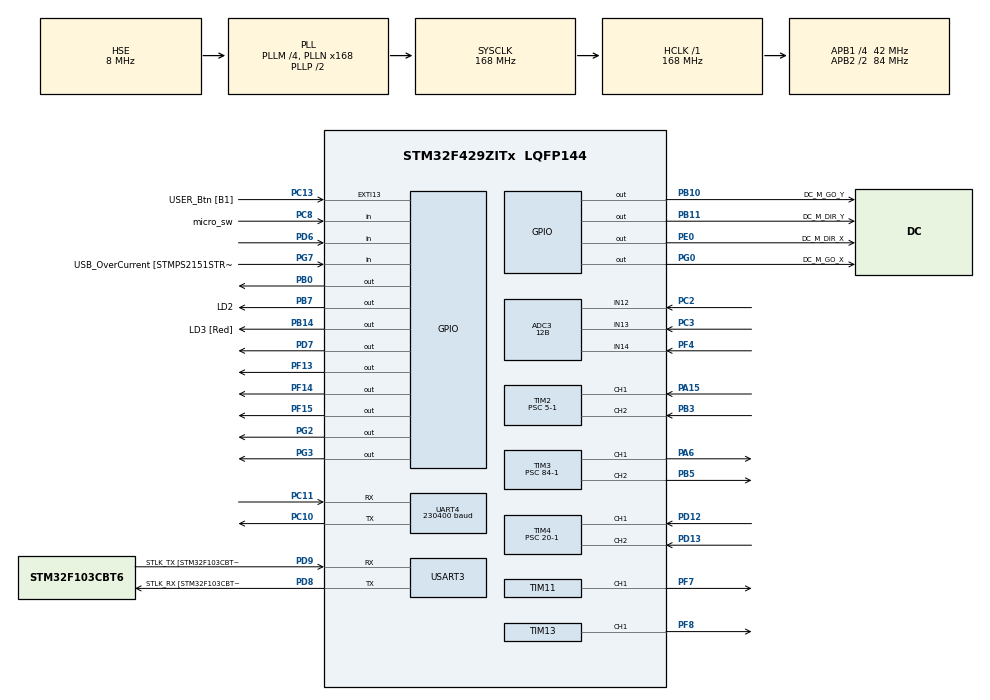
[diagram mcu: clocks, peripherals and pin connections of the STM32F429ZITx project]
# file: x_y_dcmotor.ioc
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ADC3.Channel-3\#ChannelRegularConversion=ADC_CHANNEL_13
ADC3.Channel-4\#ChannelRegularConversion=ADC_CHANNEL_12
ADC3.Channel-5\#ChannelRegularConversion=ADC_CHANNEL_14
ADC3.ContinuousConvMode=DISABLE
ADC3.DMAContinuousRequests=ENABLE
ADC3.DiscontinuousConvMode=ENABLE
ADC3.ExternalTrigConv=ADC_EXTERNALTRIGCONV_T8_TRGO
ADC3.NbrOfConversion=3
ADC3.NbrOfConversionFlag=1
ADC3.NbrOfDiscConversion=3
ADC3.Rank-3\#ChannelRegularConversion=1
ADC3.Rank-4\#ChannelRegularConversion=2
ADC3.Rank-5\#ChannelRegularConversion=3
ADC3.Resolution=ADC_RESOLUTION_12B
ADC3.SamplingTime-3\#ChannelRegularConversion=ADC_SAMPLETIME_84CYCLES
ADC3.SamplingTime-4\#ChannelRegularConversion=ADC_SAMPLETIME_480CYCLES
ADC3.SamplingTime-5\#ChannelRegularConversion=ADC_SAMPLETIME_480CYCLES
ADC3.ScanConvMode=ENABLE
Dma.ADC3.0.Direction=DMA_PERIPH_TO_MEMORY
Dma.ADC3.0.FIFOMode=DMA_FIFOMODE_DISABLE
Dma.ADC3.0.Instance=DMA2_Stream1
Dma.ADC3.0.MemDataAlignment=DMA_MDATAALIGN_HALFWORD
Dma.ADC3.0.MemInc=DMA_MINC_ENABLE
Dma.ADC3.0.Mode=DMA_CIRCULAR
Dma.ADC3.0.PeriphDataAlignment=DMA_PDATAALIGN_HALFWORD
Dma.ADC3.0.PeriphInc=DMA_PINC_DISABLE
Dma.ADC3.0.Priority=DMA_PRIORITY_LOW
Dma.Request0=ADC3
Mcu.Family=STM32F4
Mcu.Name=STM32F429ZITx
Mcu.Package=LQFP144
NVIC.ADC_IRQn=true\:0\:0\:true\:false\:true\:true\:true\:true
NVIC.DMA2_Stream1_IRQn=true\:0\:0\:false\:false\:true\:false\:true\:true
NVIC.PriorityGroup=NVIC_PRIORITYGROUP_4
NVIC.TIM1_TRG_COM_TIM11_IRQn=true\:0\:0\:true\:false\:true\:true\:true\:true
NVIC.TIM6_DAC_IRQn=true\:0\:0\:true\:false\:true\:true\:true\:true
NVIC.TIM8_BRK_TIM12_IRQn=true\:0\:0\:true\:false\:true\:true\:true\:true
NVIC.TIM8_TRG_COM_TIM14_IRQn=true\:0\:0\:true\:false\:true\:true\:true\:true
NVIC.TIM8_UP_TIM13_IRQn=true\:0\:0\:true\:false\:true\:true\:true\:true
NVIC.UART4_IRQn=true\:14\:0\:true\:false\:true\:true\:true\:true
NVIC.USART3_IRQn=true\:14\:0\:true\:false\:true\:true\:true\:true
PA11.GPIO_Label=USB_DM
PA11.Signal=USB_OTG_FS_DM
PA12.GPIO_Label=USB_DP
PA12.Signal=USB_OTG_FS_DP
PA13.GPIO_Label=TMS
PA13.Mode=Serial_Wire
PA13.Signal=SYS_JTMS-SWDIO
PA14.GPIO_Label=TCK
PA14.Mode=Serial_Wire
PA14.Signal=SYS_JTCK-SWCLK
PA15.GPIO_Speed=GPIO_SPEED_FREQ_LOW
PA15.Signal=S_TIM2_CH1_ETR
PA6.GPIO_Speed=GPIO_SPEED_FREQ_LOW
PA6.Signal=S_TIM3_CH1
PA8.GPIO_Label=USB_SOF [TP1]
PA8.Signal=USB_OTG_FS_SOF
PA9.GPIO_Label=USB_VBUS
PA9.Signal=USB_OTG_FS_VBUS
PB0.Signal=GPIO_Output
PB10.GPIO_Label=DC_M_GO_Y
PB10.GPIO_Speed=GPIO_SPEED_FREQ_LOW
PB10.Signal=GPIO_Output
PB11.GPIO_Label=DC_M_DIR_Y
PB11.GPIO_Speed=GPIO_SPEED_FREQ_LOW
PB11.Signal=GPIO_Output
PB14.GPIO_Label=LD3 [Red]
PB14.Signal=GPIO_Output
PB3.GPIO_Speed=GPIO_SPEED_FREQ_LOW
PB3.Signal=S_TIM2_CH2
PB5.Signal=S_TIM3_CH2
PB7.GPIO_Label=LD2
PB7.Signal=GPIO_Output
PC10.Mode=Asynchronous
PC10.Signal=UART4_TX
PC11.Mode=Asynchronous
PC11.Signal=UART4_RX
PC13.GPIO_Label=USER_Btn [B1]
PC13.Signal=GPXTI13
PC14/OSC32_IN.Mode=LSE-External-Oscillator
PC14/OSC32_IN.Signal=RCC_OSC32_IN
PC15/OSC32_OUT.Mode=LSE-External-Oscillator
PC15/OSC32_OUT.Signal=RCC_OSC32_OUT
PC2.Signal=ADCx_IN12
PC3.Signal=ADCx_IN13
PC8.GPIO_Label=micro_sw
PC8.Signal=GPIO_Input
PD12.GPIO_Speed=GPIO_SPEED_FREQ_LOW
PD12.Signal=S_TIM4_CH1
PD13.GPIO_Speed=GPIO_SPEED_FREQ_LOW
PD13.Signal=S_TIM4_CH2
PD6.Signal=GPIO_Input
PD7.Signal=GPIO_Output
PD8.GPIO_Label=STLK_RX [STM32F103CBT6_PA3]
PD8.Mode=Asynchronous
PD8.Signal=USART3_TX
PD9.GPIO_Label=STLK_TX [STM32F103CBT6_PA2]
PD9.Mode=Asynchronous
PD9.Signal=USART3_RX
PE0.GPIO_Label=DC_M_DIR_X
PE0.GPIO_Speed=GPIO_SPEED_FREQ_LOW
PE0.Signal=GPIO_Output
PF13.Signal=GPIO_Output
PF14.Signal=GPIO_Output
PF15.Signal=GPIO_Output
PF4.Mode=IN14
PF4.Signal=ADC3_IN14
PF7.GPIO_Speed=GPIO_SPEED_FREQ_LOW
PF7.Signal=S_TIM11_CH1
PF8.GPIO_Speed=GPIO_SPEED_FREQ_LOW
PF8.Signal=S_TIM13_CH1
PG0.GPIO_Label=DC_M_GO_X
PG0.GPIO_Speed=GPIO_SPEED_FREQ_LOW
PG0.Signal=GPIO_Output
PG2.Signal=GPIO_Output
PG3.Signal=GPIO_Output
PG7.GPIO_Label=USB_OverCurrent [STMPS2151STR_FAULT]
PG7.Signal=GPIO_Input
PH0/OSC_IN.GPIO_Label=MCO [STM32F103CBT6_PA8]
PH0/OSC_IN.Mode=HSE-External-Clock-Source
PH0/OSC_IN.Signal=RCC_OSC_IN
PH1/OSC_OUT.Mode=HSE-External-Clock-Source
PH1/OSC_OUT.Signal=RCC_OSC_OUT
ProjectManager.HeapSize=0x200
ProjectManager.StackSize=0x400
ProjectManager.TargetToolchain=STM32CubeIDE
RCC.48MHZClocksFreq_Value=48000000
RCC.AHBFreq_Value=168000000
RCC.APB1CLKDivider=RCC_HCLK_DIV4
RCC.APB1Freq_Value=42000000
RCC.APB1TimFreq_Value=84000000
RCC.APB2CLKDivider=RCC_HCLK_DIV2
RCC.APB2Freq_Value=84000000
RCC.APB2TimCLKDivider=2
RCC.APB2TimFreq_Value=168000000
RCC.CortexFreq_Value=168000000
RCC.HCLKFreq_Value=168000000
RCC.HSE_VALUE=8000000
RCC.HSI_VALUE=16000000
RCC.PLLM=4
RCC.PLLMUL=RCC_PLL_MUL9
RCC.PLLN=168
RCC.PLLQ=7
RCC.PLLSourceVirtual=RCC_PLLSOURCE_HSE
RCC.PRESCALERUSB=RCC_USBCLKSOURCE_PLL_DIV1_5
RCC.SYSCLKFreq_VALUE=168000000
RCC.SYSCLKSource=RCC_SYSCLKSOURCE_PLLCLK
RCC.SYSCLKSourceVirtual=RCC_SYSCLKSOURCE_PLLCLK
RCC.USBFreq_Value=48000000
RCC.VCOOutputFreq_Value=336000000
SH.ADCx_IN12.0=ADC3_IN12,IN12
SH.ADCx_IN13.0=ADC3_IN13,IN13
SH.S_TIM11_CH1.0=TIM11_CH1,Output Compare1 CH1
SH.S_TIM13_CH1.0=TIM13_CH1,Output Compare1 CH1
SH.S_TIM2_CH1_ETR.0=TIM2_CH1,Encoder_Interface
SH.S_TIM2_CH2.0=TIM2_CH2,Encoder_Interface
SH.S_TIM3_CH1.0=TIM3_CH1,PWM Generation1 CH1
SH.S_TIM3_CH2.0=TIM3_CH2,PWM Generation2 CH2
SH.S_TIM4_CH1.0=TIM4_CH1,Encoder_Interface
SH.S_TIM4_CH2.0=TIM4_CH2,Encoder_Interface
TIM11.AutoReloadPreload=TIM_AUTORELOAD_PRELOAD_ENABLE
TIM11.Channel=TIM_CHANNEL_1
TIM11.OCMode_1=TIM_OCMODE_TOGGLE
TIM11.Period=800-1
TIM11.Prescaler=168-1
TIM11.Pulse=50
TIM12.Prescaler=42-1
TIM13.AutoReloadPreload=TIM_AUTORELOAD_PRELOAD_ENABLE
TIM13.Channel=TIM_CHANNEL_1
TIM13.OCMode_1=TIM_OCMODE_TOGGLE
TIM13.Period=800-1
TIM13.Prescaler=84-1
TIM13.Pulse=50
TIM14.Period=1000-1
TIM14.Prescaler=840-1
TIM2.EncoderMode=TIM_ENCODERMODE_TI12
TIM2.IC1Prescaler=TIM_ICPSC_DIV1
TIM2.IC2Prescaler=TIM_ICPSC_DIV1
TIM2.Period=0xFFFFFFFF-1
TIM2.Prescaler=5-1
TIM3.Channel-PWM\ Generation1\ CH1=TIM_CHANNEL_1
TIM3.Channel-PWM\ Generation2\ CH2=TIM_CHANNEL_2
TIM3.Period=10000-1
TIM3.Prescaler=84-1
TIM3.Pulse-PWM\ Generation1\ CH1=1000
TIM3.Pulse-PWM\ Generation2\ CH2=1000
TIM4.EncoderMode=TIM_ENCODERMODE_TI12
TIM4.Period=0xFFFF-1
TIM4.Prescaler=20-1
TIM6.Period=1000-1
TIM6.Prescaler=84-1
TIM8.Channel-Output\ Compare4\ No\ Output=TIM_CHANNEL_4
TIM8.Period=30-1
TIM8.Prescaler=84-1
TIM8.Pulse-Output\ Compare4\ No\ Output=2000
TIM8.TIM_MasterOutputTrigger=TIM_TRGO_UPDATE
UART4.BaudRate=230400
UART4.Parity=PARITY_EVEN
UART4.VirtualMode=Asynchronous
USART3.VirtualMode=VM_ASYNC
VP_TIM11_VS_ClockSourceINT.Mode=Enable_Timer
VP_TIM12_VS_ClockSourceINT.Mode=Internal
VP_TIM13_VS_ClockSourceINT.Mode=Enable_Timer
VP_TIM14_VS_ClockSourceINT.Mode=Enable_Timer
VP_TIM3_VS_ClockSourceINT.Mode=Internal
VP_TIM6_VS_ClockSourceINT.Mode=Enable_Timer
VP_TIM8_VS_ClockSourceINT.Mode=Internal
VP_TIM8_VS_no_output4.Mode=Output Compare4 No Output
board=NUCLEO-F429ZI

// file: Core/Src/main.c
/* USER CODE BEGIN Header */
/**
 ******************************************************************************
 * @file           : main.c
 * @brief          : Main program body
 ******************************************************************************
 * @attention
 *
 * Copyright (c) 2024 STMicroelectronics.
 * All rights reserved.
 *
 * This software is licensed under terms that can be found in the LICENSE file
 * in the root directory of this software component.
 * If no LICENSE file comes with this software, it is provided AS-IS.
 *
 ******************************************************************************
 */
/* USER CODE END Header */
#include "main.h"

/* USER CODE BEGIN Includes */
#include "sensor.h"
#include "com.h"
#include "pid.h"
#include "step.h"
#include <stdio.h>

//ㅇㅇ

#define PHY_POWERDOWN ((uint16_t)0x0800U) /*!< 절전 모드 선택 */

extern float battery_V;

uint8_t buffer[256];

uint8_t key_value;

uint8_t data;

uint32_t encoder_count_x = 1000000;
uint32_t encoder_count_y = 10000;

extern float RPM_X;
extern float RPS_X;
extern float Omega_X;

uint16_t RPM_uint16;
uint16_t battery_uint16;

uint8_t ENC[4];

uint16_t ADC3_value[3];

extern int tim14_flag;
extern int tim6_flag;
extern int tim13_flag;
extern int tim11_flag;

extern int tim12_flag;

/* USER CODE END Includes */

ADC_HandleTypeDef hadc3;
DMA_HandleTypeDef hdma_adc3;

TIM_HandleTypeDef htim2;
TIM_HandleTypeDef htim3;
TIM_HandleTypeDef htim4;
TIM_HandleTypeDef htim6;
TIM_HandleTypeDef htim8;
TIM_HandleTypeDef htim11;
TIM_HandleTypeDef htim12;
TIM_HandleTypeDef htim13;
TIM_HandleTypeDef htim14;

UART_HandleTypeDef huart4;
UART_HandleTypeDef huart3;

void SystemClock_Config(void);
static void MX_GPIO_Init(void);
static void MX_DMA_Init(void);
static void MX_USART3_UART_Init(void);
static void MX_TIM3_Init(void);
static void MX_TIM14_Init(void);
static void MX_UART4_Init(void);
static void MX_TIM2_Init(void);
static void MX_TIM8_Init(void);
static void MX_TIM6_Init(void);
static void MX_TIM13_Init(void);
static void MX_ADC3_Init(void);
static void MX_TIM12_Init(void);
static void MX_TIM11_Init(void);
static void MX_TIM4_Init(void);

/* USER CODE BEGIN 0 */
extern uint16_t shaft_step;
extern uint16_t shaft_pulse_cycle;

extern uint16_t ball_screw_step;
extern uint16_t ball_screw_pulse_cycle;

extern uint16_t step_start;

int qwedasd;

int sw_flag = 0;
/* USER CODE END 0 */

int main(void)
{

  /* MCU Configuration--------------------------------------------------------*/

  /* Reset of all peripherals, Initializes the Flash interface and the Systick. */
  HAL_Init();

  /* Configure the system clock */
  SystemClock_Config();

  /* Initialize all configured peripherals */
  MX_GPIO_Init();
  MX_DMA_Init();
  MX_USART3_UART_Init();
  MX_TIM3_Init();
  MX_TIM14_Init();
  MX_UART4_Init();
  MX_TIM2_Init();
  MX_TIM8_Init();
  MX_TIM6_Init();
  MX_TIM13_Init();
  MX_ADC3_Init();
  MX_TIM12_Init();
  MX_TIM11_Init();
  MX_TIM4_Init();
  /* USER CODE BEGIN 2 */

	HAL_UART_Receive_IT(&huart3, &key_value, 1);
	HAL_UART_Receive_IT(&huart4, &data, 1);

	HAL_ADC_Start_DMA(&hadc3, (uint32_t*) ADC3_value, 3);

	HAL_TIM_Base_Start_IT(&htim6);
	//HAL_TIM_Base_Start_IT(&htim7);

	HAL_TIM_Encoder_Start(&htim2, TIM_CHANNEL_ALL);

	HAL_TIM_Encoder_Start(&htim4, TIM_CHANNEL_ALL);

	HAL_TIM_Base_Start_IT(&htim12);
//	HAL_TIM_OC_Start_IT(&htim13,TIM_CHANNEL_1);

	HAL_TIM_PWM_Start(&htim3, TIM_CHANNEL_1);
	HAL_TIM_PWM_Start(&htim3, TIM_CHANNEL_2);
	setvbuf(stdin, NULL, _IONBF, 0);

	//PHY_POWERDOWN=PHY_POWERDOWN;

  /* USER CODE END 2 */

  /* Infinite loop */
	while (1) {

    /* USER CODE BEGIN 3 */

		encoder_count_x = TIM2->CNT;  //32bit timer
		encoder_count_y = TIM4->CNT;  //16bit timer

		if (HAL_GPIO_ReadPin(GPIOC, GPIO_PIN_8) == 0)  //sw 눌리면 =0
		{

				HAL_GPIO_WritePin(GPIOB, GPIO_PIN_14, 1);

	}
		else
					{

						HAL_GPIO_WritePin(GPIOB, GPIO_PIN_14, 0);

					}

/*
		if (HAL_GPIO_ReadPin(GPIOC, GPIO_PIN_8) == 0)  //sw 눌리면 =0
		{
			if(sw_flag==1)
				sw_flag=0;
			else
				sw_flag=1;
		}

if(sw_flag==1)
	HAL_GPIO_WritePin(GPIOB, GPIO_PIN_14, 1);
else
	HAL_GPIO_WritePin(GPIOB, GPIO_PIN_14, 0);

	*/
		//바퀴 pid >> tim6 인터럽트 핸들러 내부
		//z축 볼스크류 스텝모터  >> tim11 인터럽트 핸들러 내부
		//축 스텝모터  >> tim13 인터럽트 핸들러 내부
		/*

		 if (tim11_flag == 1) {
		 tim11_flag = 0;
		 }

		 if (tim13_flag == 1 && step_enable == 1) { //축 스텝모터

		 if (tim14_flag >= 120) { //1.2초후 최고속도
		 shaft_pulse_cycle = 9000;
		 }

		 }
		 */
		if (tim6_flag == 1) {  //0.01s
			distance_sensor();  //거리 센서

			tim6_flag = 0;
		}

#define test 1

		if (tim14_flag >= 10) //2초: 200
				{
#if test ==1
			GPIOB->ODR ^= 1 << 7;
			RPM_uint16 = RPM_X * 10;
			battery_uint16 = battery_V * 100;

			SerialSendChar_WIFI('?');

			//테스트

			if (ADC3_value[0] >= 1000 && ADC3_value[0] <= 4095) {

				sprintf((char*) buffer, "%d\n\r", ADC3_value[0]);
				HAL_UART_Transmit(&huart3, buffer, strlen((char*) buffer), 100);
				sprintf((char*) buffer, "%d\n\r", ADC3_value[0]);
				HAL_UART_Transmit(&huart3, buffer, strlen((char*) buffer), 100);
				sprintf((char*) buffer, "%d\n\r", ADC3_value[0]);
				HAL_UART_Transmit(&huart3, buffer, strlen((char*) buffer), 100);

				//배터리, 속도 전송
				sprintf((char*) buffer, "%d", ADC3_value[0]);
				HAL_UART_Transmit(&huart4, buffer, strlen((char*) buffer), 100);
				sprintf((char*) buffer, "%d", ADC3_value[0]);
				HAL_UART_Transmit(&huart4, buffer, strlen((char*) buffer), 100);
				sprintf((char*) buffer, "%d", ADC3_value[0]);
				HAL_UART_Transmit(&huart4, buffer, strlen((char*) buffer), 100);
			}

#elif test == 2
		 GPIOB->ODR ^= 1 << 7;
		 RPM_uint16 = RPM_X * 10;
		 battery_uint16 = battery_V * 100;

		 SerialSendChar_WIFI('?');
		 sprintf((char*) buffer, "%d", battery_uint16);
		 HAL_UART_Transmit(&huart4, buffer, strlen((char*) buffer), 100);
		 sprintf((char*) buffer, "%d", RPM_uint16);
		 HAL_UART_Transmit(&huart4, buffer, strlen((char*) buffer), 100);
		 sprintf((char*) buffer, "%d", battery_uint16);
		 HAL_UART_Transmit(&huart4, buffer, strlen((char*) buffer), 100);
		 #endif

			tim14_flag = 0;
		}

		/*	if (tim6_flag == 1) {
		 if (position_start == 1) {
		 position_pid();

		 tim6_flag = 0;
		 }
		 }
		 */

//	  HAL_Delay(1);
	}
  /* USER CODE END 3 */
}

void SystemClock_Config(void)
{
  RCC_OscInitTypeDef RCC_OscInitStruct = {0};
  RCC_ClkInitTypeDef RCC_ClkInitStruct = {0};

  /** Configure the main internal regulator output voltage
  */
  __HAL_RCC_PWR_CLK_ENABLE();
  __HAL_PWR_VOLTAGESCALING_CONFIG(PWR_REGULATOR_VOLTAGE_SCALE1);

  /** Initializes the RCC Oscillators according to the specified parameters
  * in the RCC_OscInitTypeDef structure.
  */
  RCC_OscInitStruct.OscillatorType = RCC_OSCILLATORTYPE_HSE;
  RCC_OscInitStruct.HSEState = RCC_HSE_BYPASS;
  RCC_OscInitStruct.PLL.PLLState = RCC_PLL_ON;
  RCC_OscInitStruct.PLL.PLLSource = RCC_PLLSOURCE_HSE;
  RCC_OscInitStruct.PLL.PLLM = 4;
  RCC_OscInitStruct.PLL.PLLN = 168;
  RCC_OscInitStruct.PLL.PLLP = RCC_PLLP_DIV2;
  RCC_OscInitStruct.PLL.PLLQ = 7;
  if (HAL_RCC_OscConfig(&RCC_OscInitStruct) != HAL_OK)
  {
    Error_Handler();
  }

  /** Initializes the CPU, AHB and APB buses clocks
  */
  RCC_ClkInitStruct.ClockType = RCC_CLOCKTYPE_HCLK|RCC_CLOCKTYPE_SYSCLK
                              |RCC_CLOCKTYPE_PCLK1|RCC_CLOCKTYPE_PCLK2;
  RCC_ClkInitStruct.SYSCLKSource = RCC_SYSCLKSOURCE_PLLCLK;
  RCC_ClkInitStruct.AHBCLKDivider = RCC_SYSCLK_DIV1;
  RCC_ClkInitStruct.APB1CLKDivider = RCC_HCLK_DIV4;
  RCC_ClkInitStruct.APB2CLKDivider = RCC_HCLK_DIV2;

  if (HAL_RCC_ClockConfig(&RCC_ClkInitStruct, FLASH_LATENCY_5) != HAL_OK)
  {
    Error_Handler();
  }
}

static void MX_ADC3_Init(void)
{

  ADC_ChannelConfTypeDef sConfig = {0};

  /** Configure the global features of the ADC (Clock, Resolution, Data Alignment and number of conversion)
  */
  hadc3.Instance = ADC3;
  hadc3.Init.ClockPrescaler = ADC_CLOCK_SYNC_PCLK_DIV4;
  hadc3.Init.Resolution = ADC_RESOLUTION_12B;
  hadc3.Init.ScanConvMode = ENABLE;
  hadc3.Init.ContinuousConvMode = DISABLE;
  hadc3.Init.DiscontinuousConvMode = ENABLE;
  hadc3.Init.NbrOfDiscConversion = 3;
  hadc3.Init.ExternalTrigConvEdge = ADC_EXTERNALTRIGCONVEDGE_RISING;
  hadc3.Init.ExternalTrigConv = ADC_EXTERNALTRIGCONV_T8_TRGO;
  hadc3.Init.DataAlign = ADC_DATAALIGN_RIGHT;
  hadc3.Init.NbrOfConversion = 3;
  hadc3.Init.DMAContinuousRequests = ENABLE;
  hadc3.Init.EOCSelection = ADC_EOC_SINGLE_CONV;
  if (HAL_ADC_Init(&hadc3) != HAL_OK)
  {
    Error_Handler();
  }

  /** Configure for the selected ADC regular channel its corresponding rank in the sequencer and its sample time.
  */
  sConfig.Channel = ADC_CHANNEL_13;
  sConfig.Rank = 1;
  sConfig.SamplingTime = ADC_SAMPLETIME_84CYCLES;
  if (HAL_ADC_ConfigChannel(&hadc3, &sConfig) != HAL_OK)
  {
    Error_Handler();
  }

  /** Configure for the selected ADC regular channel its corresponding rank in the sequencer and its sample time.
  */
  sConfig.Channel = ADC_CHANNEL_12;
  sConfig.Rank = 2;
  sConfig.SamplingTime = ADC_SAMPLETIME_480CYCLES;
  if (HAL_ADC_ConfigChannel(&hadc3, &sConfig) != HAL_OK)
  {
    Error_Handler();
  }

  /** Configure for the selected ADC regular channel its corresponding rank in the sequencer and its sample time.
  */
  sConfig.Channel = ADC_CHANNEL_14;
  sConfig.Rank = 3;
  if (HAL_ADC_ConfigChannel(&hadc3, &sConfig) != HAL_OK)
  {
    Error_Handler();
  }

}

static void MX_TIM2_Init(void)
{

  TIM_Encoder_InitTypeDef sConfig = {0};
  TIM_MasterConfigTypeDef sMasterConfig = {0};

  htim2.Instance = TIM2;
  htim2.Init.Prescaler = 5-1;
  htim2.Init.CounterMode = TIM_COUNTERMODE_UP;
  htim2.Init.Period = 0xFFFFFFFF-1;
  htim2.Init.ClockDivision = TIM_CLOCKDIVISION_DIV1;
  htim2.Init.AutoReloadPreload = TIM_AUTORELOAD_PRELOAD_DISABLE;
  sConfig.EncoderMode = TIM_ENCODERMODE_TI12;
  sConfig.IC1Polarity = TIM_ICPOLARITY_RISING;
  sConfig.IC1Selection = TIM_ICSELECTION_DIRECTTI;
  sConfig.IC1Prescaler = TIM_ICPSC_DIV1;
  sConfig.IC1Filter = 0;
  sConfig.IC2Polarity = TIM_ICPOLARITY_RISING;
  sConfig.IC2Selection = TIM_ICSELECTION_DIRECTTI;
  sConfig.IC2Prescaler = TIM_ICPSC_DIV1;
  sConfig.IC2Filter = 0;
  if (HAL_TIM_Encoder_Init(&htim2, &sConfig) != HAL_OK)
  {
    Error_Handler();
  }
  sMasterConfig.MasterOutputTrigger = TIM_TRGO_RESET;
  sMasterConfig.MasterSlaveMode = TIM_MASTERSLAVEMODE_DISABLE;
  if (HAL_TIMEx_MasterConfigSynchronization(&htim2, &sMasterConfig) != HAL_OK)
  {
    Error_Handler();
  }

}

static void MX_TIM3_Init(void)
{

  TIM_ClockConfigTypeDef sClockSourceConfig = {0};
  TIM_MasterConfigTypeDef sMasterConfig = {0};
  TIM_OC_InitTypeDef sConfigOC = {0};

  htim3.Instance = TIM3;
  htim3.Init.Prescaler = 84-1;
  htim3.Init.CounterMode = TIM_COUNTERMODE_UP;
  htim3.Init.Period = 10000-1;
  htim3.Init.ClockDivision = TIM_CLOCKDIVISION_DIV1;
  htim3.Init.AutoReloadPreload = TIM_AUTORELOAD_PRELOAD_DISABLE;
  if (HAL_TIM_Base_Init(&htim3) != HAL_OK)
  {
    Error_Handler();
  }
  sClockSourceConfig.ClockSource = TIM_CLOCKSOURCE_INTERNAL;
  if (HAL_TIM_ConfigClockSource(&htim3, &sClockSourceConfig) != HAL_OK)
  {
    Error_Handler();
  }
  if (HAL_TIM_PWM_Init(&htim3) != HAL_OK)
  {
    Error_Handler();
  }
  sMasterConfig.MasterOutputTrigger = TIM_TRGO_RESET;
  sMasterConfig.MasterSlaveMode = TIM_MASTERSLAVEMODE_DISABLE;
  if (HAL_TIMEx_MasterConfigSynchronization(&htim3, &sMasterConfig) != HAL_OK)
  {
    Error_Handler();
  }
  sConfigOC.OCMode = TIM_OCMODE_PWM1;
  sConfigOC.Pulse = 1000;
  sConfigOC.OCPolarity = TIM_OCPOLARITY_HIGH;
  sConfigOC.OCFastMode = TIM_OCFAST_DISABLE;
  if (HAL_TIM_PWM_ConfigChannel(&htim3, &sConfigOC, TIM_CHANNEL_1) != HAL_OK)
  {
    Error_Handler();
  }
  if (HAL_TIM_PWM_ConfigChannel(&htim3, &sConfigOC, TIM_CHANNEL_2) != HAL_OK)
  {
    Error_Handler();
  }
  HAL_TIM_MspPostInit(&htim3);

}

static void MX_TIM4_Init(void)
{

  TIM_Encoder_InitTypeDef sConfig = {0};
  TIM_MasterConfigTypeDef sMasterConfig = {0};

  htim4.Instance = TIM4;
  htim4.Init.Prescaler = 20-1;
  htim4.Init.CounterMode = TIM_COUNTERMODE_UP;
  htim4.Init.Period = 0xFFFF-1;
  htim4.Init.ClockDivision = TIM_CLOCKDIVISION_DIV1;
  htim4.Init.AutoReloadPreload = TIM_AUTORELOAD_PRELOAD_DISABLE;
  sConfig.EncoderMode = TIM_ENCODERMODE_TI12;
  sConfig.IC1Polarity = TIM_ICPOLARITY_RISING;
  sConfig.IC1Selection = TIM_ICSELECTION_DIRECTTI;
  sConfig.IC1Prescaler = TIM_ICPSC_DIV1;
  sConfig.IC1Filter = 0;
  sConfig.IC2Polarity = TIM_ICPOLARITY_RISING;
  sConfig.IC2Selection = TIM_ICSELECTION_DIRECTTI;
  sConfig.IC2Prescaler = TIM_ICPSC_DIV1;
  sConfig.IC2Filter = 0;
  if (HAL_TIM_Encoder_Init(&htim4, &sConfig) != HAL_OK)
  {
    Error_Handler();
  }
  sMasterConfig.MasterOutputTrigger = TIM_TRGO_RESET;
  sMasterConfig.MasterSlaveMode = TIM_MASTERSLAVEMODE_DISABLE;
  if (HAL_TIMEx_MasterConfigSynchronization(&htim4, &sMasterConfig) != HAL_OK)
  {
    Error_Handler();
  }

}

static void MX_TIM6_Init(void)
{

  /* USER CODE BEGIN TIM6_Init 0 */
	//0.001s = 1ms
	//PID 샘플링 주기
  /* USER CODE END TIM6_Init 0 */

  TIM_MasterConfigTypeDef sMasterConfig = {0};

  htim6.Instance = TIM6;
  htim6.Init.Prescaler = 84-1;
  htim6.Init.CounterMode = TIM_COUNTERMODE_UP;
  htim6.Init.Period = 1000-1;
  htim6.Init.AutoReloadPreload = TIM_AUTORELOAD_PRELOAD_DISABLE;
  if (HAL_TIM_Base_Init(&htim6) != HAL_OK)
  {
    Error_Handler();
  }
  sMasterConfig.MasterOutputTrigger = TIM_TRGO_RESET;
  sMasterConfig.MasterSlaveMode = TIM_MASTERSLAVEMODE_DISABLE;
  if (HAL_TIMEx_MasterConfigSynchronization(&htim6, &sMasterConfig) != HAL_OK)
  {
    Error_Handler();
  }
  /* USER CODE BEGIN TIM6_Init 2 */
	HAL_TIM_Base_Start_IT(&htim6);
  /* USER CODE END TIM6_Init 2 */

}

static void MX_TIM8_Init(void)
{

  /* USER CODE BEGIN TIM8_Init 0 */
	//ADC 측정 타이머 , 나중엔 필요 x
  /* USER CODE END TIM8_Init 0 */

  TIM_ClockConfigTypeDef sClockSourceConfig = {0};
  TIM_MasterConfigTypeDef sMasterConfig = {0};
  TIM_OC_InitTypeDef sConfigOC = {0};
  TIM_BreakDeadTimeConfigTypeDef sBreakDeadTimeConfig = {0};

  htim8.Instance = TIM8;
  htim8.Init.Prescaler = 84-1;
  htim8.Init.CounterMode = TIM_COUNTERMODE_UP;
  htim8.Init.Period = 30-1;
  htim8.Init.ClockDivision = TIM_CLOCKDIVISION_DIV1;
  htim8.Init.RepetitionCounter = 0;
  htim8.Init.AutoReloadPreload = TIM_AUTORELOAD_PRELOAD_DISABLE;
  if (HAL_TIM_Base_Init(&htim8) != HAL_OK)
  {
    Error_Handler();
  }
  sClockSourceConfig.ClockSource = TIM_CLOCKSOURCE_INTERNAL;
  if (HAL_TIM_ConfigClockSource(&htim8, &sClockSourceConfig) != HAL_OK)
  {
    Error_Handler();
  }
  if (HAL_TIM_OC_Init(&htim8) != HAL_OK)
  {
    Error_Handler();
  }
  sMasterConfig.MasterOutputTrigger = TIM_TRGO_UPDATE;
  sMasterConfig.MasterSlaveMode = TIM_MASTERSLAVEMODE_DISABLE;
  if (HAL_TIMEx_MasterConfigSynchronization(&htim8, &sMasterConfig) != HAL_OK)
  {
    Error_Handler();
  }
  sConfigOC.OCMode = TIM_OCMODE_TIMING;
  sConfigOC.Pulse = 2000;
  sConfigOC.OCPolarity = TIM_OCPOLARITY_HIGH;
  sConfigOC.OCFastMode = TIM_OCFAST_DISABLE;
  sConfigOC.OCIdleState = TIM_OCIDLESTATE_RESET;
  sConfigOC.OCNIdleState = TIM_OCNIDLESTATE_RESET;
  if (HAL_TIM_OC_ConfigChannel(&htim8, &sConfigOC, TIM_CHANNEL_4) != HAL_OK)
  {
    Error_Handler();
  }
  sBreakDeadTimeConfig.OffStateRunMode = TIM_OSSR_DISABLE;
  sBreakDeadTimeConfig.OffStateIDLEMode = TIM_OSSI_DISABLE;
  sBreakDeadTimeConfig.LockLevel = TIM_LOCKLEVEL_OFF;
  sBreakDeadTimeConfig.DeadTime = 0;
  sBreakDeadTimeConfig.BreakState = TIM_BREAK_DISABLE;
  sBreakDeadTimeConfig.BreakPolarity = TIM_BREAKPOLARITY_HIGH;
  sBreakDeadTimeConfig.AutomaticOutput = TIM_AUTOMATICOUTPUT_DISABLE;
  if (HAL_TIMEx_ConfigBreakDeadTime(&htim8, &sBreakDeadTimeConfig) != HAL_OK)
  {
    Error_Handler();
  }
  /* USER CODE BEGIN TIM8_Init 2 */
	HAL_TIM_Base_Start_IT(&htim8);
  /* USER CODE END TIM8_Init 2 */

}

static void MX_TIM11_Init(void)
{

  TIM_OC_InitTypeDef sConfigOC = {0};

  htim11.Instance = TIM11;
  htim11.Init.Prescaler = 168-1;
  htim11.Init.CounterMode = TIM_COUNTERMODE_UP;
  htim11.Init.Period = 800-1;
  htim11.Init.ClockDivision = TIM_CLOCKDIVISION_DIV1;
  htim11.Init.AutoReloadPreload = TIM_AUTORELOAD_PRELOAD_ENABLE;
  if (HAL_TIM_Base_Init(&htim11) != HAL_OK)
  {
    Error_Handler();
  }
  if (HAL_TIM_OC_Init(&htim11) != HAL_OK)
  {
    Error_Handler();
  }
  sConfigOC.OCMode = TIM_OCMODE_TOGGLE;
  sConfigOC.Pulse = 50;
  sConfigOC.OCPolarity = TIM_OCPOLARITY_HIGH;
  sConfigOC.OCFastMode = TIM_OCFAST_DISABLE;
  if (HAL_TIM_OC_ConfigChannel(&htim11, &sConfigOC, TIM_CHANNEL_1) != HAL_OK)
  {
    Error_Handler();
  }
  HAL_TIM_MspPostInit(&htim11);

}

static void MX_TIM12_Init(void)
{

  /* USER CODE BEGIN TIM12_Init 0 */
	// 초음파 센서
  /* USER CODE END TIM12_Init 0 */

  TIM_ClockConfigTypeDef sClockSourceConfig = {0};

  htim12.Instance = TIM12;
  htim12.Init.Prescaler = 42-1;
  htim12.Init.CounterMode = TIM_COUNTERMODE_UP;
  htim12.Init.Period = 65535;
  htim12.Init.ClockDivision = TIM_CLOCKDIVISION_DIV1;
  htim12.Init.AutoReloadPreload = TIM_AUTORELOAD_PRELOAD_DISABLE;
  if (HAL_TIM_Base_Init(&htim12) != HAL_OK)
  {
    Error_Handler();
  }
  sClockSourceConfig.ClockSource = TIM_CLOCKSOURCE_INTERNAL;
  if (HAL_TIM_ConfigClockSource(&htim12, &sClockSourceConfig) != HAL_OK)
  {
    Error_Handler();
  }

}

static void MX_TIM13_Init(void)
{

  /* USER CODE BEGIN TIM13_Init 0 */
// 테스트 용
  /* USER CODE END TIM13_Init 0 */

  TIM_OC_InitTypeDef sConfigOC = {0};

  htim13.Instance = TIM13;
  htim13.Init.Prescaler = 84-1;
  htim13.Init.CounterMode = TIM_COUNTERMODE_UP;
  htim13.Init.Period = 800-1;
  htim13.Init.ClockDivision = TIM_CLOCKDIVISION_DIV1;
  htim13.Init.AutoReloadPreload = TIM_AUTORELOAD_PRELOAD_ENABLE;
  if (HAL_TIM_Base_Init(&htim13) != HAL_OK)
  {
    Error_Handler();
  }
  if (HAL_TIM_OC_Init(&htim13) != HAL_OK)
  {
    Error_Handler();
  }
  sConfigOC.OCMode = TIM_OCMODE_TOGGLE;
  sConfigOC.Pulse = 50;
  sConfigOC.OCPolarity = TIM_OCPOLARITY_HIGH;
  sConfigOC.OCFastMode = TIM_OCFAST_DISABLE;
  if (HAL_TIM_OC_ConfigChannel(&htim13, &sConfigOC, TIM_CHANNEL_1) != HAL_OK)
  {
    Error_Handler();
  }
  /* USER CODE BEGIN TIM13_Init 2 */
	HAL_TIM_MspPostInit(&htim13);
  /* USER CODE END TIM13_Init 2 */
  HAL_TIM_MspPostInit(&htim13);

}

static void MX_TIM14_Init(void)
{

  /* USER CODE BEGIN TIM14_Init 0 */
//RPM 측정
  /* USER CODE END TIM14_Init 0 */

  htim14.Instance = TIM14;
  htim14.Init.Prescaler = 840-1;
  htim14.Init.CounterMode = TIM_COUNTERMODE_UP;
  htim14.Init.Period = 1000-1;
  htim14.Init.ClockDivision = TIM_CLOCKDIVISION_DIV1;
  htim14.Init.AutoReloadPreload = TIM_AUTORELOAD_PRELOAD_DISABLE;
  if (HAL_TIM_Base_Init(&htim14) != HAL_OK)
  {
    Error_Handler();
  }
  /* USER CODE BEGIN TIM14_Init 2 */
	TIM14->DIER |= (1 << 0);   // CC1IE: Enable the Tim14 UG interrupt
	NVIC->ISER[1] |= (1 << (45 - 32)); // TIM14_CC

	TIM14->CR1 |= (1 << 0);	// CEN: Counter TIM14 enable

  /* USER CODE END TIM14_Init 2 */

}

static void MX_UART4_Init(void)
{

  huart4.Instance = UART4;
  huart4.Init.BaudRate = 230400;
  huart4.Init.WordLength = UART_WORDLENGTH_8B;
  huart4.Init.StopBits = UART_STOPBITS_1;
  huart4.Init.Parity = UART_PARITY_EVEN;
  huart4.Init.Mode = UART_MODE_TX_RX;
  huart4.Init.HwFlowCtl = UART_HWCONTROL_NONE;
  huart4.Init.OverSampling = UART_OVERSAMPLING_16;
  if (HAL_UART_Init(&huart4) != HAL_OK)
  {
    Error_Handler();
  }

}

static void MX_USART3_UART_Init(void)
{

  huart3.Instance = USART3;
  huart3.Init.BaudRate = 115200;
  huart3.Init.WordLength = UART_WORDLENGTH_8B;
  huart3.Init.StopBits = UART_STOPBITS_1;
  huart3.Init.Parity = UART_PARITY_NONE;
  huart3.Init.Mode = UART_MODE_TX_RX;
  huart3.Init.HwFlowCtl = UART_HWCONTROL_NONE;
  huart3.Init.OverSampling = UART_OVERSAMPLING_16;
  if (HAL_UART_Init(&huart3) != HAL_OK)
  {
    Error_Handler();
  }

}

static void MX_DMA_Init(void)
{

  /* DMA controller clock enable */
  __HAL_RCC_DMA2_CLK_ENABLE();

  /* DMA interrupt init */
  /* DMA2_Stream1_IRQn interrupt configuration */
  HAL_NVIC_SetPriority(DMA2_Stream1_IRQn, 0, 0);
  HAL_NVIC_EnableIRQ(DMA2_Stream1_IRQn);

}

static void MX_GPIO_Init(void)
{
  GPIO_InitTypeDef GPIO_InitStruct = {0};

  /* GPIO Ports Clock Enable */
  __HAL_RCC_GPIOC_CLK_ENABLE();
  __HAL_RCC_GPIOF_CLK_ENABLE();
  __HAL_RCC_GPIOH_CLK_ENABLE();
  __HAL_RCC_GPIOA_CLK_ENABLE();
  __HAL_RCC_GPIOB_CLK_ENABLE();
  __HAL_RCC_GPIOG_CLK_ENABLE();
  __HAL_RCC_GPIOD_CLK_ENABLE();
  __HAL_RCC_GPIOE_CLK_ENABLE();

  /*Configure GPIO pin Output Level */
  HAL_GPIO_WritePin(GPIOB, GPIO_PIN_0|DC_M_GO_Y_Pin|DC_M_DIR_Y_Pin|LD3_Pin
                          |LD2_Pin, GPIO_PIN_RESET);

  /*Configure GPIO pin Output Level */
  HAL_GPIO_WritePin(GPIOF, GPIO_PIN_13|GPIO_PIN_14|GPIO_PIN_15, GPIO_PIN_RESET);

  /*Configure GPIO pin Output Level */
  HAL_GPIO_WritePin(GPIOG, DC_M_GO_X_Pin|GPIO_PIN_2|GPIO_PIN_3, GPIO_PIN_RESET);

  /*Configure GPIO pin Output Level */
  HAL_GPIO_WritePin(GPIOD, GPIO_PIN_7, GPIO_PIN_RESET);

  /*Configure GPIO pin Output Level */
  HAL_GPIO_WritePin(DC_M_DIR_X_GPIO_Port, DC_M_DIR_X_Pin, GPIO_PIN_RESET);

  /*Configure GPIO pin : USER_Btn_Pin */
  GPIO_InitStruct.Pin = USER_Btn_Pin;
  GPIO_InitStruct.Mode = GPIO_MODE_IT_RISING;
  GPIO_InitStruct.Pull = GPIO_NOPULL;
  HAL_GPIO_Init(USER_Btn_GPIO_Port, &GPIO_InitStruct);

  /*Configure GPIO pins : PB0 DC_M_GO_Y_Pin DC_M_DIR_Y_Pin LD3_Pin
                           LD2_Pin */
  GPIO_InitStruct.Pin = GPIO_PIN_0|DC_M_GO_Y_Pin|DC_M_DIR_Y_Pin|LD3_Pin
                          |LD2_Pin;
  GPIO_InitStruct.Mode = GPIO_MODE_OUTPUT_PP;
  GPIO_InitStruct.Pull = GPIO_NOPULL;
  GPIO_InitStruct.Speed = GPIO_SPEED_FREQ_LOW;
  HAL_GPIO_Init(GPIOB, &GPIO_InitStruct);

  /*Configure GPIO pins : PF13 PF14 PF15 */
  GPIO_InitStruct.Pin = GPIO_PIN_13|GPIO_PIN_14|GPIO_PIN_15;
  GPIO_InitStruct.Mode = GPIO_MODE_OUTPUT_PP;
  GPIO_InitStruct.Pull = GPIO_NOPULL;
  GPIO_InitStruct.Speed = GPIO_SPEED_FREQ_LOW;
  HAL_GPIO_Init(GPIOF, &GPIO_InitStruct);

  /*Configure GPIO pins : DC_M_GO_X_Pin PG2 PG3 */
  GPIO_InitStruct.Pin = DC_M_GO_X_Pin|GPIO_PIN_2|GPIO_PIN_3;
  GPIO_InitStruct.Mode = GPIO_MODE_OUTPUT_PP;
  GPIO_InitStruct.Pull = GPIO_NOPULL;
  GPIO_InitStruct.Speed = GPIO_SPEED_FREQ_LOW;
  HAL_GPIO_Init(GPIOG, &GPIO_InitStruct);

  /*Configure GPIO pin : USB_OverCurrent_Pin */
  GPIO_InitStruct.Pin = USB_OverCurrent_Pin;
  GPIO_InitStruct.Mode = GPIO_MODE_INPUT;
  GPIO_InitStruct.Pull = GPIO_NOPULL;
  HAL_GPIO_Init(USB_OverCurrent_GPIO_Port, &GPIO_InitStruct);

  /*Configure GPIO pin : micro_sw_Pin */
  GPIO_InitStruct.Pin = micro_sw_Pin;
  GPIO_InitStruct.Mode = GPIO_MODE_INPUT;
  GPIO_InitStruct.Pull = GPIO_NOPULL;
  HAL_GPIO_Init(micro_sw_GPIO_Port, &GPIO_InitStruct);

  /*Configure GPIO pins : USB_SOF_Pin USB_DM_Pin USB_DP_Pin */
  GPIO_InitStruct.Pin = USB_SOF_Pin|USB_DM_Pin|USB_DP_Pin;
  GPIO_InitStruct.Mode = GPIO_MODE_AF_PP;
  GPIO_InitStruct.Pull = GPIO_NOPULL;
  GPIO_InitStruct.Speed = GPIO_SPEED_FREQ_VERY_HIGH;
  GPIO_InitStruct.Alternate = GPIO_AF10_OTG_FS;
  HAL_GPIO_Init(GPIOA, &GPIO_InitStruct);

  /*Configure GPIO pin : USB_VBUS_Pin */
  GPIO_InitStruct.Pin = USB_VBUS_Pin;
  GPIO_InitStruct.Mode = GPIO_MODE_INPUT;
  GPIO_InitStruct.Pull = GPIO_NOPULL;
  HAL_GPIO_Init(USB_VBUS_GPIO_Port, &GPIO_InitStruct);

  /*Configure GPIO pin : PD6 */
  GPIO_InitStruct.Pin = GPIO_PIN_6;
  GPIO_InitStruct.Mode = GPIO_MODE_INPUT;
  GPIO_InitStruct.Pull = GPIO_NOPULL;
  HAL_GPIO_Init(GPIOD, &GPIO_InitStruct);

  /*Configure GPIO pin : PD7 */
  GPIO_InitStruct.Pin = GPIO_PIN_7;
  GPIO_InitStruct.Mode = GPIO_MODE_OUTPUT_PP;
  GPIO_InitStruct.Pull = GPIO_NOPULL;
  GPIO_InitStruct.Speed = GPIO_SPEED_FREQ_LOW;
  HAL_GPIO_Init(GPIOD, &GPIO_InitStruct);

  /*Configure GPIO pin : DC_M_DIR_X_Pin */
  GPIO_InitStruct.Pin = DC_M_DIR_X_Pin;
  GPIO_InitStruct.Mode = GPIO_MODE_OUTPUT_PP;
  GPIO_InitStruct.Pull = GPIO_NOPULL;
  GPIO_InitStruct.Speed = GPIO_SPEED_FREQ_LOW;
  HAL_GPIO_Init(DC_M_DIR_X_GPIO_Port, &GPIO_InitStruct);

}

/* USER CODE BEGIN 4 */
void HAL_TIM_PeriodElapsedCallback(TIM_HandleTypeDef *htim) {
	if (htim->Instance == TIM13) {

		GPIOB->ODR ^= 1 << 14;

		/* tim13_flag=1;

		 step_pulse_count++;

		 if(step_pulse_count==200*10)  //    2000/rev
		 {
		 HAL_GPIO_WritePin(GPIOF, GPIO_PIN_13, 1);  //정지
		 HAL_TIM_OC_Stop_IT(&htim13,TIM_CHANNEL_1);
		 }*/
	}
}

/* USER CODE END 4 */

void Error_Handler(void)
{
	__disable_irq();
	while (1) {
	}
}
